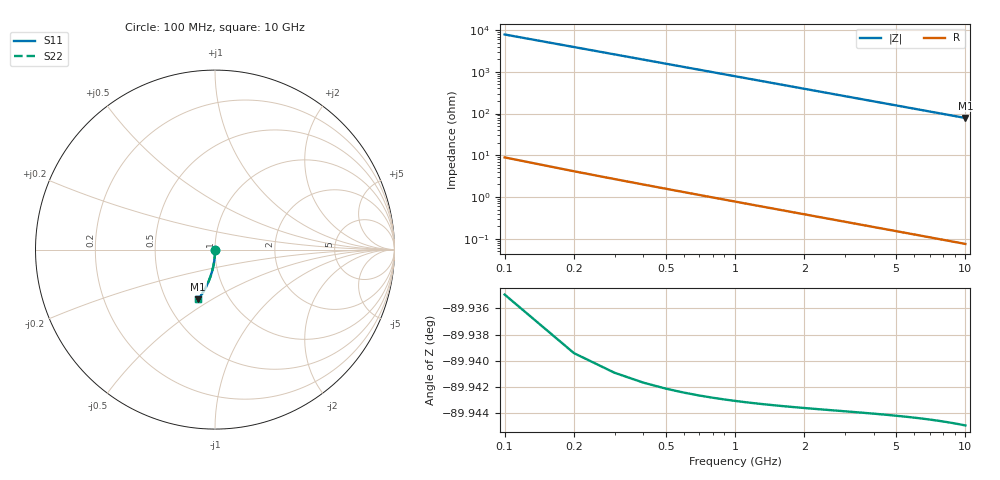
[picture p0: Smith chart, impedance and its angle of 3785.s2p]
# Hz S RI R 50.00
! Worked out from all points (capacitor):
!   100 points, 100 MHz to 10 GHz, reference 50 ohm
!   read as one part in shunt: C = 203 fF near 100 MHz
!   lowest |Z| = 78.3 ohm at 10 GHz (marker M1)
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1e8  6.09e-05 -0.00305  0.9999 -0.00333  0.9999 -0.00333  6.09e-05 -0.00305
2e8  2.78e-05 -0.00611  0.9999 -0.00666  0.9999 -0.00666  2.78e-05 -0.00611
3e8  -2.58e-05 -0.00916  0.9998 -0.00999  0.9998 -0.00999  -2.58e-05 -0.00916
4e8  -9.98e-05 -0.0122  0.9997 -0.0133  0.9997 -0.0133  -9.98e-05 -0.0122
5e8  -0.000194 -0.0153  0.9997 -0.0167  0.9997 -0.0167  -0.000194 -0.0153
6e8  -0.000309 -0.0183  0.9995 -0.02  0.9995 -0.02  -0.000309 -0.0183
7e8  -0.000444 -0.0214  0.9994 -0.0233  0.9994 -0.0233  -0.000444 -0.0214
8e8  -0.000599 -0.0244  0.9992 -0.0266  0.9992 -0.0266  -0.000599 -0.0244
9e8  -0.000775 -0.0275  0.9991 -0.03  0.9991 -0.03  -0.000775 -0.0275
1.1e9  -0.00119 -0.0335  0.9987 -0.0366  0.9987 -0.0366  -0.00119 -0.0335
1.4e9  -0.00196 -0.0427  0.9979 -0.0466  0.9979 -0.0466  -0.00196 -0.0427
1.8e9  -0.00326 -0.0548  0.9966 -0.0598  0.9966 -0.0598  -0.00326 -0.0548
2.1e9  -0.00446 -0.0638  0.9954 -0.0697  0.9954 -0.0697  -0.00446 -0.0638
2.5e9  -0.00632 -0.0758  0.9935 -0.0828  0.9935 -0.0828  -0.00632 -0.0758
2.9e9  -0.0085 -0.0878  0.9913 -0.0959  0.9913 -0.0959  -0.0085 -0.0878
3.4e9  -0.0117 -0.1026  0.9881 -0.1121  0.9881 -0.1121  -0.0117 -0.1026
4.2e9  -0.0177 -0.126  0.9821 -0.1377  0.9821 -0.1377  -0.0177 -0.126
5.1e9  -0.0259 -0.1517  0.9738 -0.1659  0.9738 -0.1659  -0.0259 -0.1517
5.9e9  -0.0344 -0.174  0.9653 -0.1904  0.9653 -0.1904  -0.0344 -0.174
6.7e9  -0.044 -0.1956  0.9557 -0.2143  0.9557 -0.2143  -0.044 -0.1956
8.4e9  -0.0676 -0.2391  0.932 -0.2627  0.932 -0.2627  -0.0676 -0.2391
1e10  -0.0933 -0.2767  0.9061 -0.3048  0.9061 -0.3048  -0.0933 -0.2767
